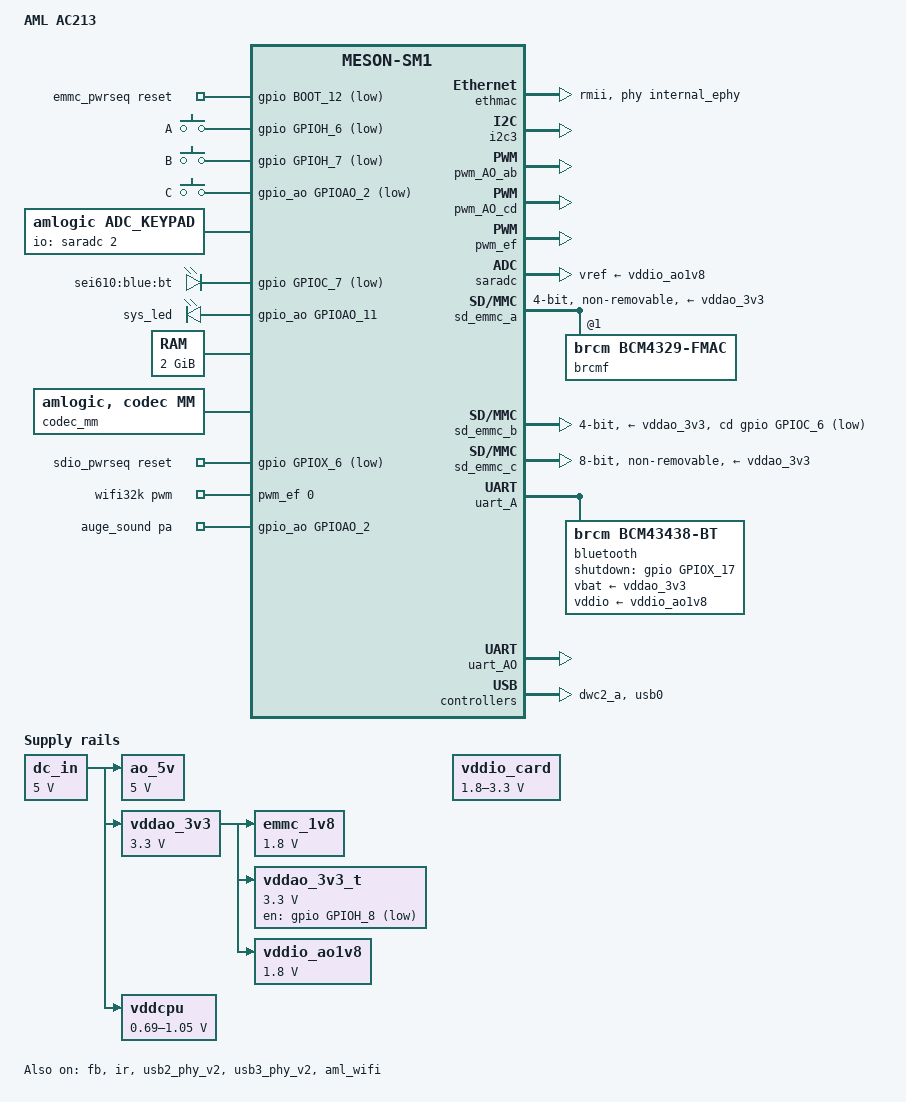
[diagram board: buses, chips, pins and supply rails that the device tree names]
// SPDX-License-Identifier: (GPL-2.0+ OR MIT)
/*
 * Copyright (c) 2019 BayLibre SAS. All rights reserved.
 */

/dts-v1/;

#include "meson-sm1.dtsi"
#include "partition_mbox_normal.dtsi"
#include <dt-bindings/gpio/gpio.h>
#include <dt-bindings/input/input.h>
#include <dt-bindings/gpio/meson-g12a-gpio.h>

/ {
	compatible = "amlogic,sm1";
	model = "AML AC213";

	aliases {
		serial0 = &uart_AO;
		serial1 = &uart_A;
		serial2 = &uart_B;
		serial3 = &uart_C;
		serial4 = &uart_AO_B;
		ethernet0 = &ethmac;
		tsensor0 = &p_tsensor;
		tsensor1 = &d_tsensor;
		i2c0 = &i2c0;
		i2c1 = &i2c1;
		i2c2 = &i2c2;
		i2c3 = &i2c3;
		i2c4 = &i2c_AO;
		spi1 = &spicc0;
		spi2 = &spicc1;
	};

	chosen {
		stdout-path = "serial0:115200n8";
	};

	emmc_pwrseq: emmc-pwrseq {
		compatible = "mmc-pwrseq-emmc";
		reset-gpios = <&gpio BOOT_12 GPIO_ACTIVE_LOW>;
	};

	gpio-keys {
		compatible = "gpio-keys-polled";
		poll-interval = <100>;

		key1 {
			label = "A";
			linux,code = <BTN_0>;
			gpios = <&gpio GPIOH_6 GPIO_ACTIVE_LOW>;
		};

		key2 {
			label = "B";
			linux,code = <BTN_1>;
			gpios = <&gpio GPIOH_7 GPIO_ACTIVE_LOW>;
		};

		key3 {
			label = "C";
			linux,code = <BTN_2>;
			gpios = <&gpio_ao GPIOAO_2 GPIO_ACTIVE_LOW>;
		};
	};

	adc_keypad {
		compatible = "amlogic, adc_keypad";
		status = "okay";
		key_name = "vol-", "vol+", "enter";
		key_num = <3>;
		io-channels = <&saradc 2>;
		io-channel-names = "key-chan-2";
		key_chan = <2 2 2>;
		key_code = <114 115 28>;
		key_val = <143 266 389>; //val=voltage/1800mV*1023
		key_tolerance = <40 40 40>;
	};
/*
	hdmi-connector {
		compatible = "hdmi-connector";
		type = "a";

		port {
			hdmi_connector_in: endpoint {
				remote-endpoint = <&hdmi_tx_tmds_out>;
			};
		};
	};
*/

	leds {
		compatible = "gpio-leds";

		bluetooth {
			label = "sei610:blue:bt";
			gpios = <&gpio GPIOC_7 (GPIO_ACTIVE_LOW | GPIO_OPEN_DRAIN)>;
			default-state = "off";
		};

		sys_led {
			label = "sys_led";
			gpios = <&gpio_ao GPIOAO_11 GPIO_ACTIVE_HIGH>;
			default-state = "on";
		};
	};

	pwmleds {
		compatible = "pwm-leds";
		status = "disabled";

		power {
			label = "sei610:red:power";
			pwms = <&pwm_AO_ab 0 30518 0>;
			max-brightness = <255>;
			linux,default-trigger = "default-on";
			active-low;
		};
	};

	memory@0 {
		device_type = "memory";
		reg = <0x0 0x80000000>;
	};

	ao_5v: regulator-ao_5v {
		compatible = "regulator-fixed";
		regulator-name = "AO_5V";
		regulator-min-microvolt = <5000000>;
		regulator-max-microvolt = <5000000>;
		vin-supply = <&dc_in>;
		regulator-always-on;
	};

	dc_in: regulator-dc_in {
		compatible = "regulator-fixed";
		regulator-name = "DC_IN";
		regulator-min-microvolt = <5000000>;
		regulator-max-microvolt = <5000000>;
		regulator-always-on;
	};

	emmc_1v8: regulator-emmc_1v8 {
		compatible = "regulator-fixed";
		regulator-name = "EMMC_1V8";
		regulator-min-microvolt = <1800000>;
		regulator-max-microvolt = <1800000>;
		vin-supply = <&vddao_3v3>;
		regulator-always-on;
	};

	vddao_3v3: regulator-vddao_3v3 {
		compatible = "regulator-fixed";
		regulator-name = "VDDAO_3V3";
		regulator-min-microvolt = <3300000>;
		regulator-max-microvolt = <3300000>;
		vin-supply = <&dc_in>;
		regulator-always-on;
	};

	/* Used by Tuner, RGB Led & IR Emitter LED array */
	vddao_3v3_t: regulator-vddao_3v3_t {
		compatible = "regulator-fixed";
		regulator-name = "VDDAO_3V3_T";
		regulator-min-microvolt = <3300000>;
		regulator-max-microvolt = <3300000>;
		vin-supply = <&vddao_3v3>;
		gpio = <&gpio GPIOH_8 GPIO_OPEN_DRAIN>;
		enable-active-low;
		regulator-always-on;
	};

	vddio_card: gpio-regulator {
		compatible = "regulator-gpio";

		regulator-name = "VDDIO_CARD";
		regulator-min-microvolt = <1800000>;
		regulator-max-microvolt = <3300000>;

		gpios = <&gpio GPIOC_7 GPIO_ACTIVE_LOW>;
		gpios-states = <1>;

		/* Based on P200 schematics, signal CARD_1.8V/3.3V_CTR */
		states = <1800000 1
			3300000 0>;
	};

	vddcpu: regulator-vddcpu {
		/*
		 * SY8120B1ABC DC/DC Regulator.
		 */
		compatible = "pwm-regulator";

		regulator-name = "VDDCPU";
		regulator-min-microvolt = <690000>;
		regulator-max-microvolt = <1050000>;

		vin-supply = <&dc_in>;

		pwms = <&pwm_AO_cd 1 1500 0>;
		pwm-dutycycle-range = <100 0>;

		regulator-boot-on;
		regulator-always-on;
	};

	vddio_ao1v8: regulator-vddio_ao1v8 {
		compatible = "regulator-fixed";
		regulator-name = "VDDIO_AO1V8";
		regulator-min-microvolt = <1800000>;
		regulator-max-microvolt = <1800000>;
		vin-supply = <&vddao_3v3>;
		regulator-always-on;
	};

	reserved-memory {
		secmon_reserved:linux,secmon {
			compatible = "shared-dma-pool";
			reusable;
			size = <0x400000>;
			alignment = <0x400000>;
			alloc-ranges = <0x05000000 0x400000>;
		};

		secos_reserved:linux,secos {
			status = "disable";
			compatible = "amlogic, aml_secos_memory";
			reg = <0x05300000 0x2000000>;
			no-map;
		};

		logo_reserved:linux,meson-fb {
			compatible = "shared-dma-pool";
			reusable;
			size = <0x800000>;
			alignment = <0x400000>;
			alloc-ranges = <0x3f800000 0x800000>;
		};

		ion_cma_reserved:linux,ion-dev {
			compatible = "shared-dma-pool";
			reusable;
			size = <0x8000000>;
			alignment = <0x400000>;
		};

		/*  POST PROCESS MANAGER */
		ppmgr_reserved:linux,ppmgr {
			compatible = "shared-dma-pool";
			size = <0x0>;
		};
		codec_mm_cma:linux,codec_mm_cma {
			compatible = "shared-dma-pool";
			reusable;
			/* ion_codec_mm max can alloc size 80M*/
			size = <0x13400000>;
			alignment = <0x400000>;
			linux,contiguous-region;
			alloc-ranges = <0x30000000 0x50000000>;
		};
		/* codec shared reserved */
		codec_mm_reserved:linux,codec_mm_reserved {
			compatible = "amlogic, codec-mm-reserved";
			size = <0x0>;
			alignment = <0x100000>;
			//no-map;
		};

		autocap_reserved:linux,autocap_reserved {
			compatible = "amlogic, aml_autocap_memory";
			status = "disabled";
			//size = <0x4000000>;
			//alloc-ranges = <0x40000000 0x25800000>;
		};
	};

	codec_mm {
		compatible = "amlogic, codec, mm";
		memory-region = <&codec_mm_cma &codec_mm_reserved>;
		dev_name = "codec_mm";
		status = "okay";
	};

	free_reserved {
		compatible = "amlogic, free_reserved";
		memory-region = <&autocap_reserved>;
		status = "disabled";
	};

	ppmgr {
		compatible = "amlogic, ppmgr";
		memory-region = <&ppmgr_reserved>;
		dev_name = "ppmgr";
		status = "okay";
	};
	amdolby_vision {
		compatible = "amlogic, dolby_vision_sm1";
		dev_name = "aml_amdolby_vision_driver";
		status = "okay";
		tv_mode = <0>;/*1:enabel ;0:disable*/
	};

	amlvecm {
		compatible = "amlogic, vecm";
		dev_name = "aml_vecm";
		status = "okay";
		gamma_en = <0>;/*1:enabel ;0:disable*/
		wb_en = <0>;/*1:enabel ;0:disable*/
		cm_en = <0>;/*1:enabel ;0:disable*/
	};

	sdio_pwrseq: sdio-pwrseq {
		compatible = "mmc-pwrseq-simple";
		reset-gpios = <&gpio GPIOX_6 GPIO_ACTIVE_LOW>;
		clocks = <&wifi32k>;
		clock-names = "ext_clock";
	};

	wifi32k: wifi32k {
		compatible = "pwm-clock";
		#clock-cells = <0>;
		clock-frequency = <32768>;
		pwms = <&pwm_ef 0 30518 0>; /* PWM_E at 32.768KHz */
	};

	auge_sound {
		compatible = "amlogic, sound-card";
		aml-audio-card,name = "AML-AUGESOUND";

		/* Power Amplifier Enable gpio */
		pa-gpios = <&gpio_ao GPIOAO_2 GPIO_ACTIVE_HIGH>;

		aml-audio-card,dai-link@0 {
			format = "dsp_a";
			mclk-fs = <512>;
			//continuous-clock;
			//bitclock-inversion;
			//frame-inversion;
			/* master mode */
			bitclock-master = <&tdma>;
			frame-master = <&tdma>;
			/* slave mode */
			/*
			 * bitclock-master = <&tdmacodec>;
			 * frame-master = <&tdmacodec>;
			 */
			suffix-name = "alsaPORT-pcm";
			tdmacpu: cpu {
				sound-dai = <&tdma>;
				dai-tdm-slot-tx-mask =
							<1 1 1 1 1 1 1 1>;
				dai-tdm-slot-rx-mask =
							<1 1 1 1 1 1 1 1>;
				dai-tdm-slot-num = <8>;
				dai-tdm-slot-width = <32>;
				system-clock-frequency = <24576000>;
			};
			tdmacodec: codec {
				sound-dai = <&dummy_codec &dummy_codec>;
			};
		};

		aml-audio-card,dai-link@1 {
			format = "i2s";// "dsp_a";
			mclk-fs = <256>;
			//continuous-clock;
			//bitclock-inversion;
			//frame-inversion;
			/* master mode */
			bitclock-master = <&tdmb>;
			frame-master = <&tdmb>;
			/* slave mode */
			//bitclock-master = <&tdmbcodec>;
			//frame-master = <&tdmbcodec>;
			/* suffix-name, sync with android audio hal
			 * what's the dai link used for
			 */
			suffix-name = "alsaPORT-i2s";
			cpu {
				sound-dai = <&tdmb>;
				dai-tdm-slot-tx-mask = <1 1>;
				dai-tdm-slot-rx-mask = <1 1>;
				dai-tdm-slot-num = <2>;
				/*
				 * dai-tdm-slot-tx-mask =
				 *	<1 1 1 1 1 1 1 1>;
				 * dai-tdm-slot-rx-mask =
				 *	<1 1 1 1 1 1 1 1>;
				 * dai-tdm-slot-num = <8>;
				 */
				dai-tdm-slot-width = <32>;
				system-clock-frequency = <12288000>;
			};
			tdmbcodec: codec {
				sound-dai = <&amlogic_codec>;
			};
		};

		aml-audio-card,dai-link@2 {
			format = "i2s";
			mclk-fs = <256>;
			//continuous-clock;
			//bitclock-inversion;
			//frame-inversion;
			/* master mode */
			bitclock-master = <&tdmc>;
			frame-master = <&tdmc>;
			/* slave mode */
			//bitclock-master = <&tdmccodec>;
			//frame-master = <&tdmccodec>;
			/* suffix-name, sync with android audio hal used for */
			//suffix-name = "alsaPORT-tdm";
			cpu {
				sound-dai = <&tdmc>;
				dai-tdm-slot-tx-mask = <1 1>;
				dai-tdm-slot-rx-mask = <1 1>;
				dai-tdm-slot-num = <2>;
				dai-tdm-slot-width = <32>;
				system-clock-frequency = <12288000>;
			};
			tdmccodec: codec {
				sound-dai = <&dummy_codec>;
			};
		};

		aml-audio-card,dai-link@3 {
			mclk-fs = <64>;
			/* suffix-name, sync with android audio hal
			 * what's the dai link used for
			 */
			suffix-name = "alsaPORT-pdm";
			cpu {
				sound-dai = <&apdm>;
			};
			codec {
				sound-dai = <&dummy_codec>;
			};
		};

		aml-audio-card,dai-link@4 {
			mclk-fs = <128>;
			/* suffix-name, sync with android audio hal used for */
			suffix-name = "alsaPORT-spdif";
			cpu {
				sound-dai = <&spdifa>;
				system-clock-frequency = <6144000>;
			};
			codec {
				sound-dai = <&dummy_codec>;
			};
		};
		/* spdif_b to hdmi, only playback */
		aml-audio-card,dai-link@5 {
			mclk-fs = <128>;
			continuous-clock;
			/* suffix-name, sync with android audio hal
			 * what's the dai link used for
			 */
			suffix-name = "alsaPORT-spdifb";
			cpu {
				sound-dai = <&spdifb>;
				system-clock-frequency = <6144000>;
			};
			codec {
				sound-dai = <&dummy_codec>;
			};
		};
		aml-audio-card,dai-link@6 {
			mclk-fs = <256>;
			continuous-clock;
			suffix-name = "alsaPORT-loopback";
			cpu {
				sound-dai = <&loopbacka>;
				system-clock-frequency = <12288000>;
			};
			codec {
				sound-dai = <&dummy_codec>;
			};
		};
	};

	picdec {
		compatible = "amlogic, picdec";
		status = "okay";
	};
};

/*
&cec_AO {
	pinctrl-0 = <&cec_ao_a_h_pins>;
	pinctrl-names = "default";
	status = "disabled";
	hdmi-phandle = <&hdmi_tx>;
};

&cecb_AO {
	pinctrl-0 = <&cec_ao_b_h_pins>;
	pinctrl-names = "default";
	status = "okay";
	hdmi-phandle = <&hdmi_tx>;
};
*/

&cpu0 {
	cpu-supply = <&vddcpu>;
	operating-points-v2 = <&cpu_opp_table>;
	clocks = <&clkc CLKID_CPU_CLK>;
	clock-latency = <50000>;
};

&cpu1 {
	cpu-supply = <&vddcpu>;
	operating-points-v2 = <&cpu_opp_table>;
	clocks = <&clkc CLKID_CPU1_CLK>;
	clock-latency = <50000>;
};

&cpu2 {
	cpu-supply = <&vddcpu>;
	operating-points-v2 = <&cpu_opp_table>;
	clocks = <&clkc CLKID_CPU2_CLK>;
	clock-latency = <50000>;
};

&cpu3 {
	cpu-supply = <&vddcpu>;
	operating-points-v2 = <&cpu_opp_table>;
	clocks = <&clkc CLKID_CPU3_CLK>;
	clock-latency = <50000>;
};

/*open this comment for ext phy
 *&ext_mdio {
	external_phy: ethernet-phy@0 {
		reg = <0>;
		max-speed = <1000>;

		reset-assert-us = <10000>;
		reset-deassert-us = <30000>;
		reset-gpios = <&gpio GPIOZ_15 (GPIO_ACTIVE_LOW |
					GPIO_OPEN_DRAIN)>;

		interrupt-parent = <&gpio_intc>;
		interrupts = <26 IRQ_TYPE_LEVEL_LOW>;
	};
};
&ethmac {
	pinctrl-0 = <&eth_pins>, <&eth_rgmii_pins>;
	pinctrl-names = "default";
	status = "okay";
	phy-mode = "rgmii";
	phy-handle = <&external_phy>;
	amlogic,tx-delay-ns = <2>;
};
*/

&ethmac {
	status = "okay";
	phy-handle = <&internal_ephy>;
	phy-mode = "rmii";
};

&fb {
	status = "okay";
	display_size_default = <1920 1080 1920 2160 32>;
	mem_size = <0x00800000 0x1980000 0x100000 0x100000 0x800000>;
	logo_addr = "0x3f800000";
	mem_alloc = <0>;
	pxp_mode = <0>; /** 0:normal mode 1:pxp mode */
};

/*
&hdmi_tx {
	status = "okay";
	pinctrl-0 = <&hdmitx_hpd_pins>, <&hdmitx_ddc_pins>;
	pinctrl-names = "default";
};

&hdmi_tx_tmds_port {
	hdmi_tx_tmds_out: endpoint {
		remote-endpoint = <&hdmi_connector_in>;
	};
};
*/

&i2c3 {
	status = "okay";
	pinctrl-0 = <&i2c3_sda_a_pins>, <&i2c3_sck_a_pins>;
	pinctrl-names = "default";
};

&ir {
	status = "okay";
	pinctrl-0 = <&remote_input_ao_pins>;
	pinctrl-names = "default";
};

&pwm_AO_ab {
	status = "okay";
	pinctrl-0 = <&pwm_ao_a_pins>;
	pinctrl-names = "default";
	clocks = <&xtal>;
	clock-names = "clkin0";
};

&pwm_AO_cd {
	pinctrl-0 = <&pwm_ao_d_e_pins>;
	pinctrl-names = "default";
	clocks = <&xtal>;
	clock-names = "clkin1";
	status = "okay";
};

&pwm_ef {
	status = "okay";
	pinctrl-0 = <&pwm_e_pins>;
	pinctrl-names = "default";
	clocks = <&xtal>;
	clock-names = "clkin0";
};

&saradc {
	status = "okay";
	vref-supply = <&vddio_ao1v8>;
};

/* SDIO */
&sd_emmc_a {
	status = "okay";
	pinctrl-0 = <&sdio_pins>;
	pinctrl-1 = <&sdio_clk_gate_pins>;
	pinctrl-names = "default", "clk-gate";
	#address-cells = <1>;
	#size-cells = <0>;

	bus-width = <4>;
	cap-sd-highspeed;
	sd-uhs-sdr50;
	sd-uhs-sdr104;
	max-frequency = <200000000>;

	non-removable;
	disable-wp;

//	mmc-pwrseq = <&sdio_pwrseq>;

	vmmc-supply = <&vddao_3v3>;
	vqmmc-supply = <&vddio_ao1v8>;

	brcmf: wifi@1 {
		reg = <1>;
		compatible = "brcm,bcm4329-fmac";
	};
};

/* SD card */
&sd_emmc_b {
	status = "okay";
	pinctrl-0 = <&sdcard_c_pins>;
	pinctrl-1 = <&sdcard_clk_gate_c_pins>;
	pinctrl-names = "default", "clk-gate";

	bus-width = <4>;
	cap-sd-highspeed;
//	sd-uhs-sdr50;
//	sd-uhs-sdr104;
	max-frequency = <200000000>;
	disable-wp;

	cd-gpios = <&gpio GPIOC_6 GPIO_ACTIVE_LOW>;
	vmmc-supply = <&vddao_3v3>;
	vqmmc-supply = <&vddio_card>;
};

/* eMMC */
&sd_emmc_c {
	status = "okay";
	pinctrl-0 = <&emmc_pins>, <&emmc_ds_pins>;
	pinctrl-1 = <&emmc_clk_gate_pins>;
	pinctrl-names = "default", "clk-gate";

	bus-width = <8>;
	cap-mmc-highspeed;
//	mmc-ddr-1_8v;
	mmc-hs200-1_8v;
	mmc-hs400-1_8v;
	max-frequency = <200000000>;
	non-removable;
	disable-wp;

	mmc-pwrseq = <&emmc_pwrseq>;
	vmmc-supply = <&vddao_3v3>;
	vqmmc-supply = <&emmc_1v8>;
};

&uart_A {
	status = "okay";
	pinctrl-0 = <&uart_a_pins>, <&uart_a_cts_rts_pins>;
	pinctrl-names = "default";
	uart-has-rtscts;

	bluetooth {
		compatible = "brcm,bcm43438-bt";
		shutdown-gpios = <&gpio GPIOX_17 GPIO_ACTIVE_HIGH>;
		max-speed = <2000000>;
		clocks = <&wifi32k>;
		clock-names = "lpo";
		vbat-supply = <&vddao_3v3>;
		vddio-supply = <&vddio_ao1v8>;
	};
};

/* Exposed via the on-board USB to Serial FT232RL IC */
&uart_AO {
	status = "okay";
	pinctrl-0 = <&uart_ao_a_pins>;
	pinctrl-names = "default";
};

&dwc2_a {
	status = "okay";
	/** 0: normal, 1: otg+dwc3 host only, 2: otg+dwc3 device only*/
	controller-type = <1>;
};

&usb0 {
	status = "okay";
};

&usb2_phy_v2 {
	status = "okay";
	portnum = <2>;
};

&usb3_phy_v2 {
	status = "okay";
	portnum = <1>;
	otg = <0>;
};

&aml_wifi{
	status = "okay";
	interrupt-gpios = <&gpio  GPIOX_7  GPIO_ACTIVE_HIGH>;
	power_on-gpios = <&gpio   GPIOX_6  GPIO_ACTIVE_HIGH>;
};

&pcie {
	status = "disable";
	reset-gpio = <&gpio GPIOX_7 GPIO_ACTIVE_HIGH>;
};

&spicc0 {
	status = "disabled";
	pinctrl-names = "default";
	pinctrl-0 = <&spicc0_pins_x>;
	cs-gpios = <&gpio GPIOX_10 0>;
};

&spicc1 {
	status = "disabled";
	pinctrl-names = "default";
	pinctrl-0 = <&spicc1_pins>;
	cs-gpios = <&gpio GPIOH_6 0>;
};
